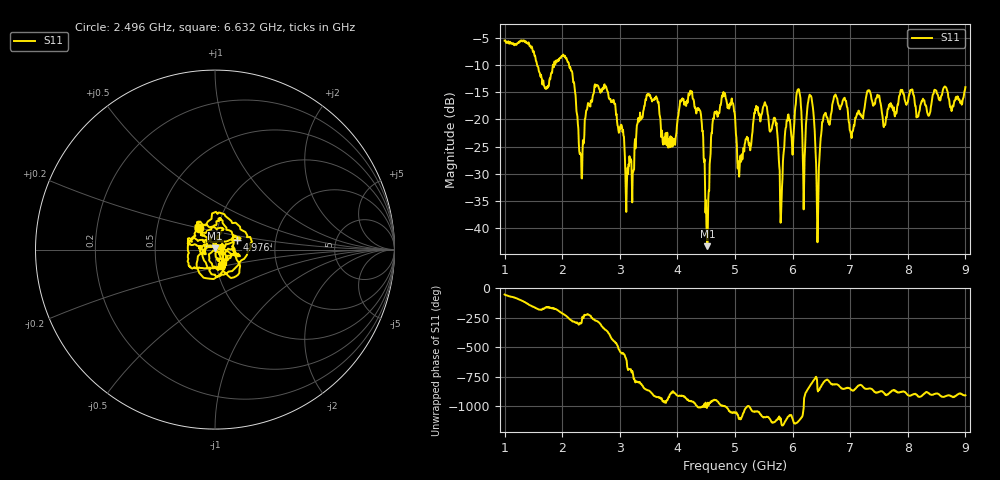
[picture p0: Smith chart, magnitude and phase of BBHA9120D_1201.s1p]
!Keysight Technologies N9915A: A.08.18
!Date: Tuesday, 30 July 2019 13:45:48
!TimeZone: (GMT+08:00) Perth!Model: N9915A
!Serial: MY53102697
!GPS Latitude:
!GPS Longitude:
!GPS TimeStamp: 0001-01-01 00:00:00Z
!GPS Seconds Since Last Read: 0
!CHECKSUM:1875153279
!Correction: S11(ON U)
!S1P File: Measurement: S11:
# Hz S DB R 50
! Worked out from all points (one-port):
!   1001 points, 1 GHz to 9 GHz, reference 50 ohm
!   lowest |S11| = -43.3 dB at 4.52 GHz (marker M1), VSWR 1.01, Z = 50.1 + j0.677 ohm
!   |S11| at or under -10 dB: 1.565 GHz to 1.839 GHz (274.3 MHz wide, 16.1 % of centre); 1.842 GHz to 1.859 GHz (16.93 MHz wide, 0.915 % of centre); 2.12 GHz to end of sweep
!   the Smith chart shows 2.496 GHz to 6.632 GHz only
!   S11 on the Smith chart (normalised r, x): 2.496 GHz: 0.82, +0.20; 4.976 GHz: 1.27, +0.14; 6.632 GHz: 1.05, -0.19
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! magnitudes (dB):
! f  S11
! 1 GHz  -5.5
! 1.72 GHz  -14.4
! 2 GHz  -8.4
! 2.184 GHz  -12.3
! 2.328 GHz  -26.5
! 2.496 GHz  -16.6
! 3 GHz  -21.5
! 3.136 GHz  -28.9
! 3.488 GHz  -15.6
! 4 GHz  -20.4
! 4.384 GHz  -18.2
! 4.52 GHz  -43.3
! 4.648 GHz  -18.6
! 4.976 GHz  -17.6
! 5 GHz  -19.4
! 5.088 GHz  -27.4
! 5.528 GHz  -17.2
! 5.8 GHz  -37.4
! 5.904 GHz  -20.2
! 6 GHz  -26.5
! 6.104 GHz  -14.4
! 6.208 GHz  -27.1
! 6.312 GHz  -15.7
! 6.44 GHz  -38.7
! 6.632 GHz  -20.4
! 7 GHz  -22.1
! 8 GHz  -16.8
! 9 GHz  -14.1
